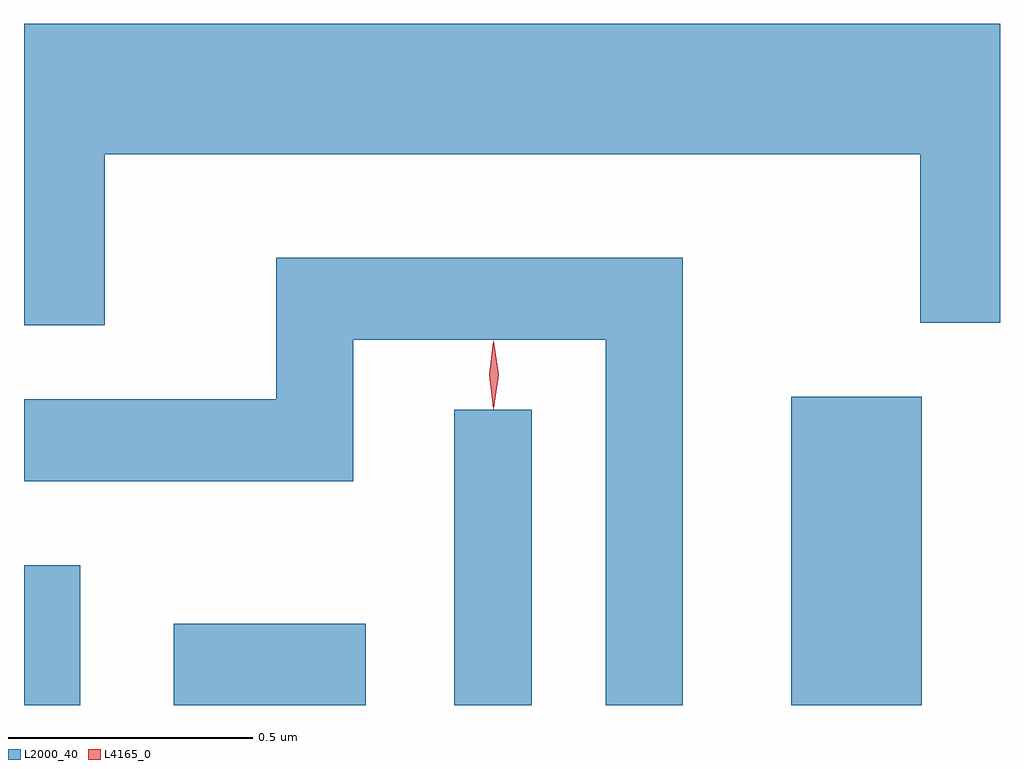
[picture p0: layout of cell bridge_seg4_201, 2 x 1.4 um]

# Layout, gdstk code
import gdstk
lib = gdstk.Library(unit=1e-6, precision=1e-09)
def R(c, l, rs):  # rectangles x0, y0, x1, y1
    for r in rs: c.add(gdstk.rectangle(r[:2], r[2:], *l))
def P(c, l, *ps):  # polygons
    for p in ps: c.add(gdstk.Polygon(p, *l))
L2000_40 = (2000, 40)
L4165_0 = (4165, 0)

bridge_seg4_201 = lib.new_cell('bridge_seg4_201')
R(bridge_seg4_201, L2000_40, [(962.934,1318.027,963.049,1318.314), (963.241,1318.027,963.634,1318.194), (963.816,1318.027,963.974,1318.633), (964.506,1318.027,964.774,1318.659)])
P(bridge_seg4_201, L2000_40, [(963.099,1319.156),(964.771,1319.156),(964.771,1318.811),(964.934,1318.811),(964.934,1319.424),(962.934,1319.424),(962.934,1318.806),(963.099,1318.806)],
  [(964.284,1318.944),(963.451,1318.944),(963.451,1318.654),(962.934,1318.654),(962.934,1318.486),(963.609,1318.486),(963.609,1318.776),(964.126,1318.776),(964.126,1318.027),(964.284,1318.027)])
P(bridge_seg4_201, L4165_0, [(963.896,1318.634),(963.896,1318.635),(963.887,1318.704),(963.896,1318.773),(963.897,1318.774),(963.897,1318.773),(963.907,1318.704),(963.897,1318.635)])

lib.write_gds('bridge_seg4_201.gds')
